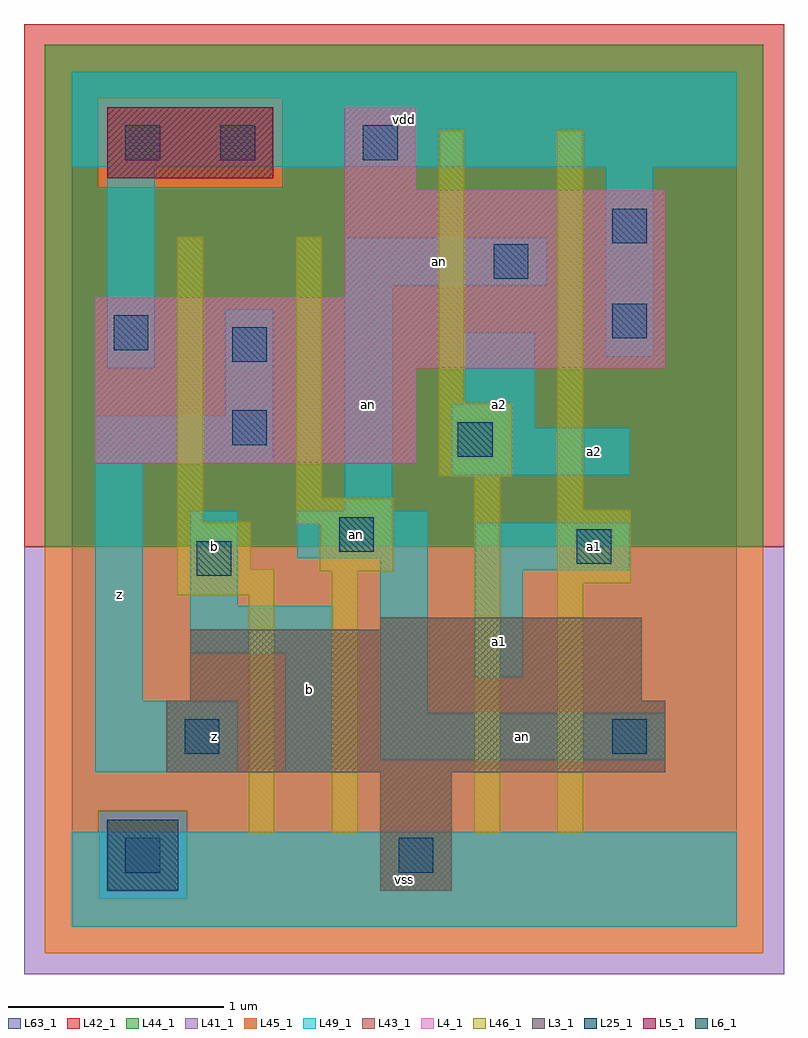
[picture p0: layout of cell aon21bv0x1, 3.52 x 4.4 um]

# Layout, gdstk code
import gdstk
lib = gdstk.Library(unit=1e-6, precision=1e-09)
def R(c, l, rs):  # rectangles x0, y0, x1, y1
    for r in rs: c.add(gdstk.rectangle(r[:2], r[2:], *l))
L3_1 = (3, 1)
L4_1 = (4, 1)
L5_1 = (5, 1)
L6_1 = (6, 1)
L25_1 = (25, 1)
L41_1 = (41, 1)
L42_1 = (42, 1)
L43_1 = (43, 1)
L44_1 = (44, 1)
L45_1 = (45, 1)
L46_1 = (46, 1)
L49_1 = (49, 1)
L63_1 = (63, 1)

aon21bv0x1 = lib.new_cell('aon21bv0x1')
R(aon21bv0x1, L3_1, [(1.43,0.165,1.76,0.715), (0.44,0.715,2.75,1.045), (0.55,1.045,2.64,1.375), (1.43,1.375,2.64,1.43)])
R(aon21bv0x1, L4_1, [(0.11,2.145,1.595,2.585), (0.11,2.585,2.75,2.915), (1.265,2.915,2.75,3.41), (1.265,3.41,1.595,3.795)])
R(aon21bv0x1, L5_1, [(0.165,3.465,0.935,3.795)])
R(aon21bv0x1, L6_1, [(0.165,0.165,0.495,0.495)])
R(aon21bv0x1, L25_1, [(0.25,0.25,0.41,0.41), (1.515,0.25,1.675,0.41), (0.525,0.8,0.685,0.96), (2.505,0.8,2.665,0.96), (0.58,1.625,0.74,1.785), (2.34,1.68,2.5,1.84), (1.24,1.735,1.4,1.895), (1.79,2.175,1.95,2.335), (0.745,2.23,0.905,2.39), (0.745,2.615,0.905,2.775), (0.195,2.67,0.355,2.83), (2.505,2.725,2.665,2.885), (1.955,3,2.115,3.16), (2.505,3.165,2.665,3.325), (0.25,3.55,0.41,3.71), (0.69,3.55,0.85,3.71), (1.35,3.55,1.51,3.71)])
R(aon21bv0x1, L41_1, [(-0.22,-0.22,3.3,1.76)])
R(aon21bv0x1, L42_1, [(-0.22,1.76,3.3,4.18)])
R(aon21bv0x1, L43_1, [(0.165,0.165,0.495,0.495), (1.43,0.165,1.76,0.715), (0.44,0.715,2.75,1.045), (0.55,1.045,2.64,1.375), (1.43,1.375,2.64,1.43), (0.11,2.145,1.595,2.585), (0.11,2.585,2.75,2.915), (1.265,2.915,2.75,3.41), (1.265,3.41,1.595,3.795), (0.165,3.465,0.935,3.795)])
R(aon21bv0x1, L44_1, [(0.125,0.125,0.535,0.535), (-0.125,1.76,3.205,3.425), (-0.125,3.425,0.125,3.835), (0.975,3.425,3.205,3.835), (-0.125,3.835,3.205,4.085)])
R(aon21bv0x1, L45_1, [(-0.125,-0.125,3.205,0.125), (-0.125,0.125,0.125,0.535), (0.535,0.125,3.205,0.535), (-0.125,0.535,3.205,1.76), (0.125,3.425,0.975,3.835)])
R(aon21bv0x1, L46_1, [(0.82,0.435,0.94,1.535), (1.205,0.435,1.325,1.645), (1.865,0.435,1.985,2.085), (2.25,0.435,2.37,1.59), (0.49,1.535,0.94,1.655), (2.25,1.59,2.59,1.93), (1.15,1.645,1.49,1.865), (0.49,1.655,0.83,1.875), (1.04,1.865,1.49,1.985), (0.49,1.875,0.61,3.195), (2.25,1.93,2.37,3.69), (1.04,1.985,1.16,3.195), (1.7,2.085,2.04,2.425), (1.7,2.425,1.82,3.69)])
R(aon21bv0x1, L49_1, [(0,0,3.08,0.44), (0.11,0.715,0.77,1.045), (0.99,0.715,1.21,1.265), (1.43,0.77,2.75,0.99), (1.43,0.99,1.65,1.705), (0.11,1.045,0.33,2.145), (1.87,1.155,2.09,1.65), (0.55,1.265,1.21,1.485), (0.55,1.485,0.77,1.925), (1.87,1.65,2.585,1.87), (1.045,1.705,1.65,1.925), (1.265,1.925,1.485,2.97), (1.76,2.09,2.585,2.31), (0.11,2.145,0.935,2.365), (1.76,2.31,2.145,2.42), (0.715,2.365,0.935,2.86), (1.815,2.42,2.145,2.75), (0.165,2.585,0.385,3.52), (2.475,2.64,2.695,3.52), (1.265,2.97,2.2,3.19), (0,3.52,3.08,3.96)])
R(aon21bv0x1, L63_1, [(0,0,3.08,3.96)])
aon21bv0x1.add(gdstk.Label('an', (1.32,1.815), layer=49, texttype=1))
aon21bv0x1.add(gdstk.Label('z', (0.22,1.54), layer=49, texttype=1))
aon21bv0x1.add(gdstk.Label('b', (1.1,1.1), layer=49, texttype=1))
aon21bv0x1.add(gdstk.Label('z', (0.66,0.88), layer=49, texttype=1))
aon21bv0x1.add(gdstk.Label('b', (0.66,1.76), layer=49, texttype=1))
aon21bv0x1.add(gdstk.Label('an', (1.375,2.42), layer=49, texttype=1))
aon21bv0x1.add(gdstk.Label('vss', (1.54,0.22), layer=49, texttype=1))
aon21bv0x1.add(gdstk.Label('a1', (1.98,1.32), layer=49, texttype=1))
aon21bv0x1.add(gdstk.Label('a2', (1.98,2.42), layer=49, texttype=1))
aon21bv0x1.add(gdstk.Label('an', (1.705,3.08), layer=49, texttype=1))
aon21bv0x1.add(gdstk.Label('vdd', (1.54,3.74), layer=49, texttype=1))
aon21bv0x1.add(gdstk.Label('an', (2.09,0.88), layer=49, texttype=1))
aon21bv0x1.add(gdstk.Label('a1', (2.42,1.76), layer=49, texttype=1))
aon21bv0x1.add(gdstk.Label('a2', (2.42,2.2), layer=49, texttype=1))

lib.write_gds('aon21bv0x1.gds')
